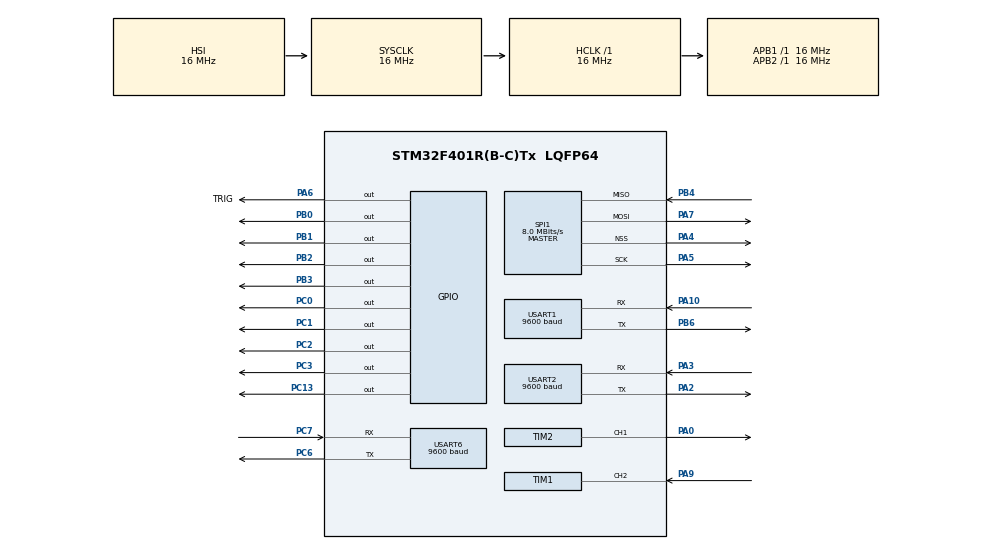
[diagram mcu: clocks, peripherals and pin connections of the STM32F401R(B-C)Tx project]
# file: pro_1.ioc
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Mcu.Family=STM32F4
Mcu.Name=STM32F401R(B-C)Tx
Mcu.Package=LQFP64
NVIC.PriorityGroup=NVIC_PRIORITYGROUP_4
NVIC.SPI1_IRQn=true\:0\:0\:false\:false\:true\:true\:true\:true
NVIC.TIM1_BRK_TIM9_IRQn=true\:0\:0\:false\:false\:true\:true\:true\:true
NVIC.TIM1_CC_IRQn=true\:0\:0\:false\:false\:true\:true\:true\:true
NVIC.TIM1_TRG_COM_TIM11_IRQn=true\:0\:0\:false\:false\:true\:true\:true\:true
NVIC.TIM1_UP_TIM10_IRQn=true\:0\:0\:false\:false\:true\:true\:true\:true
NVIC.USART1_IRQn=true\:0\:0\:false\:false\:true\:true\:true\:true
NVIC.USART2_IRQn=true\:0\:0\:false\:false\:true\:true\:true\:true
NVIC.USART6_IRQn=true\:0\:0\:false\:false\:true\:true\:true\:true
PA0-WKUP.Signal=S_TIM2_CH1_ETR
PA10.Mode=Asynchronous
PA10.Signal=USART1_RX
PA2.Mode=Asynchronous
PA2.Signal=USART2_TX
PA3.Mode=Asynchronous
PA3.Signal=USART2_RX
PA4.Mode=NSS_Signal_Hard_Output
PA4.Signal=SPI1_NSS
PA5.Mode=Full_Duplex_Master
PA5.Signal=SPI1_SCK
PA6.GPIO_Label=TRIG
PA6.Signal=GPIO_Output
PA7.Mode=Full_Duplex_Master
PA7.Signal=SPI1_MOSI
PA9.Signal=S_TIM1_CH2
PB0.Signal=GPIO_Output
PB1.Signal=GPIO_Output
PB2.Signal=GPIO_Output
PB3.Signal=GPIO_Output
PB4.Mode=Full_Duplex_Master
PB4.Signal=SPI1_MISO
PB6.Mode=Asynchronous
PB6.Signal=USART1_TX
PC0.Signal=GPIO_Output
PC1.Signal=GPIO_Output
PC13-ANTI_TAMP.Signal=GPIO_Output
PC2.Signal=GPIO_Output
PC3.Signal=GPIO_Output
PC6.Mode=Asynchronous
PC6.Signal=USART6_TX
PC7.Mode=Asynchronous
PC7.Signal=USART6_RX
ProjectManager.HeapSize=0x200
ProjectManager.StackSize=0x400
ProjectManager.TargetToolchain=STM32CubeIDE
RCC.48MHZClocksFreq_Value=20480000
RCC.AHBFreq_Value=16000000
RCC.APB1Freq_Value=16000000
RCC.APB1TimFreq_Value=16000000
RCC.APB2Freq_Value=16000000
RCC.APB2TimFreq_Value=16000000
RCC.CortexFreq_Value=16000000
RCC.HCLKFreq_Value=16000000
RCC.HSE_VALUE=25000000
RCC.HSI_VALUE=16000000
RCC.LSE_VALUE=32768
RCC.PLLM=25
RCC.PLLN=128
RCC.SYSCLKFreq_VALUE=16000000
RCC.VCOOutputFreq_Value=81920000
SH.S_TIM1_CH2.0=TIM1_CH2,Input_Capture2_from_TI2
SH.S_TIM2_CH1_ETR.0=TIM2_CH1,PWM Generation1 CH1
SPI1.CalculateBaudRate=8.0 MBits/s
SPI1.Direction=SPI_DIRECTION_2LINES
SPI1.Mode=SPI_MODE_MASTER
SPI1.VirtualNSS=VM_NSSHARD
SPI1.VirtualType=VM_MASTER
TIM1.Channel-Input_Capture2_from_TI2=TIM_CHANNEL_2
TIM1.Period=0xffff-1
TIM1.Prescaler=16-1
TIM2.Channel-PWM\ Generation1\ CH1=TIM_CHANNEL_1
TIM2.Period=2000-1
TIM2.Prescaler=160-1
USART1.BaudRate=9600
USART1.VirtualMode=VM_ASYNC
USART2.BaudRate=9600
USART2.VirtualMode=VM_ASYNC
USART6.BaudRate=9600
USART6.VirtualMode=VM_ASYNC
VP_TIM1_VS_ClockSourceINT.Mode=Internal
VP_TIM2_VS_ClockSourceINT.Mode=Internal
board=custom

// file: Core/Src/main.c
/* USER CODE BEGIN Header */
/**
  ******************************************************************************
  * @file           : main.c
  * @brief          : Main program body
  ******************************************************************************
  * @attention
  *
  * Copyright (c) 2024 STMicroelectronics.
  * All rights reserved.
  *
  * This software is licensed under terms that can be found in the LICENSE file
  * in the root directory of this software component.
  * If no LICENSE file comes with this software, it is provided AS-IS.
  *
  ******************************************************************************
  */
/* USER CODE END Header */
#include "main.h"
#include "spi.h"
#include "tim.h"
#include "usart.h"
#include "gpio.h"

/* USER CODE BEGIN Includes */
#include "stdio.h"
#include "string.h"
#include "stander_file.h"
#include "keypad_cfg.h"
#include "lcd_cfg.h"
#include "led_cfg.h"
#include "bluetooth_cfg.h"
#include "servo_cfg.h"
#include "ultrasonic_cfg.h"
/* USER CODE END Includes */

/* USER CODE BEGIN PTD */

#define TRIG_PIN GPIO_PIN_10
#define TRIG_PORT GPIOA

/* USER CODE END PTD */

/* USER CODE BEGIN PV */
HAL_StatusTypeDef ret;                // return status
uint32_t IC_Val1 ;                    // for ultasonic read
uint32_t IC_Val2 ;                    // for ultasonic read
uint32_t Difference ;                 // different between val1 and val2
uint8_t Is_First_Captured ;           // is the first value captured ?
uint8_t Distance ;                    // distance from ultrasonic
uint8_t data_receive_uart2[2];        // receive data from pic
uint8_t data_receive_uart2_buffer[2]; // receive data from pic
volatile uint8_t data_receive_uart1;  // receive data from pic
uint8_t counter_recieve = 1;          //helper at data receive

/* USER CODE END PV */

void SystemClock_Config(void);

/* USER CODE BEGIN 0 */

/* callback for ultrasonic */
void HAL_TIM_IC_CaptureCallback(TIM_HandleTypeDef *htim)
{
   if (htim->Channel == HAL_TIM_ACTIVE_CHANNEL_2)  // if the interrupt source is channel1
   {
       if (Is_First_Captured == 0) // if the first value is not captured
       {
           IC_Val1 = HAL_TIM_ReadCapturedValue(htim, TIM_CHANNEL_2); // read the first value
           Is_First_Captured = 1;  // set the first captured as true
           // Now change the polarity to falling edge
           __HAL_TIM_SET_CAPTUREPOLARITY(htim, TIM_CHANNEL_2, TIM_INPUTCHANNELPOLARITY_FALLING);
       }

       else if (Is_First_Captured==1)   // if the first is already captured
       {
           IC_Val2 = HAL_TIM_ReadCapturedValue(htim, TIM_CHANNEL_2);  // read second value
           __HAL_TIM_SET_COUNTER(htim, 0);  // reset the counter

           if (IC_Val2 > IC_Val1)
           {
               Difference = IC_Val2-IC_Val1;
           }

           else if (IC_Val1 > IC_Val2)
           {
               Difference = (0xffff - IC_Val1) + IC_Val2;
           }

           Distance = Difference * (0.034/2);
           Is_First_Captured = 0; // set it back to false

           // set polarity to rising edge
           __HAL_TIM_SET_CAPTUREPOLARITY(htim, TIM_CHANNEL_2, TIM_INPUTCHANNELPOLARITY_RISING);
           __HAL_TIM_DISABLE_IT(&htim1, TIM_IT_CC2);
       }
   }
}

/* UART receive interrupt */
void HAL_UART_RxCpltCallback(UART_HandleTypeDef *huart){
	if(huart == &huart1){
		HAL_UART_Receive_IT(&huart1,&data_receive_uart1,1);
	}else if(huart == &huart2){
		HAL_UART_Receive_IT(&huart2,&data_receive_uart2[counter_recieve],1);
		counter_recieve++;
		if(counter_recieve == 2){
			counter_recieve = 0;
		}
	}

}

/* USER CODE END 0 */

int main(void)
{

  /* USER CODE BEGIN 1 */
	char MSG[40];
  /* USER CODE END 1 */

  /* MCU Configuration--------------------------------------------------------*/

  /* Reset of all peripherals, Initializes the Flash interface and the Systick. */
  HAL_Init();

  /* Configure the system clock */
  SystemClock_Config();

  /* Initialize all configured peripherals */
  MX_GPIO_Init();
  MX_TIM1_Init();
  MX_USART2_UART_Init();
  MX_USART1_UART_Init();
  MX_USART6_UART_Init();
  MX_TIM2_Init();
  MX_SPI1_Init();
  /* USER CODE BEGIN 2 */

  HAL_TIM_IC_Start_IT(&htim1, TIM_CHANNEL_2);                  //start timer for ultasonic
  HAL_UART_Receive_IT(&huart1,&data_receive_uart1,1);          //receive data Bluetooth
  HAL_UART_Receive_IT(&huart2,&data_receive_uart2[0],1);       //receive data from pic

  /* USER CODE END 2 */

  /* Infinite loop */
  /* USER CODE BEGIN WHILE */
  while (1)
  {
	  /* send data with SPI */
	  HAL_SPI_Transmit(&hspi1,&data_receive_uart2[1],1,HAL_MAX_DELAY);
	  /* read ultrasonic data*/
	  HCSR04_Read(&ultra_1);
	  if(Distance >= 35){
		  servo_Motor_Start_angle_90(&servo);
	  }else if((Distance >= 31) && Distance < 35){
		  servo_Motor_Start_angle_45(&servo);
	  }else if((Distance >= 28) && Distance < 31){
		  servo_Motor_Start_angle_0(&servo);
	  }else if((Distance >= 24) && Distance < 28){
		  servo_Motor_Start_angle_N45(&servo);
	  }else if((Distance >= 20) && Distance < 24){
		  servo_Motor_Start_angle_N90(&servo);
	  }else{
		  servo_Motor_Start_angle_90(&servo);
	  }

	  /* for debug */
	  sprintf(MSG, "data1 = %d \r\n",data_receive_uart2[0]);
	  HAL_UART_Transmit(&huart6, MSG,strlen(MSG), 1000);
	  sprintf(MSG, "data2 = %d \r\n",data_receive_uart2[1]);
	  HAL_UART_Transmit(&huart6, MSG,strlen(MSG), 1000);

	  /* sun value */
	  if(data_receive_uart2[0] > 38 ){
		  HAL_GPIO_WritePin(GPIOC, GPIO_PIN_0, GPIO_PIN_RESET);
		  HAL_GPIO_WritePin(GPIOC, GPIO_PIN_1, GPIO_PIN_RESET);
		  HAL_GPIO_WritePin(GPIOC, GPIO_PIN_2, GPIO_PIN_RESET);
		  HAL_GPIO_WritePin(GPIOC, GPIO_PIN_3, GPIO_PIN_RESET);
		  HAL_GPIO_WritePin(GPIOB, GPIO_PIN_0, GPIO_PIN_RESET);
		  HAL_GPIO_WritePin(GPIOB, GPIO_PIN_1, GPIO_PIN_RESET);
		  HAL_GPIO_WritePin(GPIOB, GPIO_PIN_2, GPIO_PIN_RESET);
		  HAL_GPIO_WritePin(GPIOB, GPIO_PIN_3, GPIO_PIN_RESET);
		  HAL_GPIO_WritePin(GPIOC, GPIO_PIN_13,GPIO_PIN_RESET);
	      }else{
	    	  /* bluetooth receive data and operation */
	    	  switch(data_receive_uart1){
	    	  	  	  case 'a':
	    	  	  		  HAL_GPIO_WritePin(GPIOC, GPIO_PIN_0, GPIO_PIN_SET);
	    	  	  		  HAL_GPIO_WritePin(GPIOC, GPIO_PIN_1, GPIO_PIN_RESET);
	    	  	  		  HAL_GPIO_WritePin(GPIOC, GPIO_PIN_2, GPIO_PIN_RESET);
	    	  	  		  HAL_GPIO_WritePin(GPIOC, GPIO_PIN_3, GPIO_PIN_RESET);
	    	  	  		  break;
	    	  	  	  case 's':
	    	  	  	  		  HAL_GPIO_WritePin(GPIOC, GPIO_PIN_0, GPIO_PIN_RESET);
	    	  	  	  		  HAL_GPIO_WritePin(GPIOC, GPIO_PIN_1, GPIO_PIN_SET);
	    	  	  	  		  HAL_GPIO_WritePin(GPIOC, GPIO_PIN_2, GPIO_PIN_RESET);
	    	  	  	  		  HAL_GPIO_WritePin(GPIOC, GPIO_PIN_3, GPIO_PIN_RESET);
	    	  	  	  		  break;
	    	  	  	  case 'd':
	    	  	  	  		  HAL_GPIO_WritePin(GPIOC, GPIO_PIN_0, GPIO_PIN_RESET);
	    	  	  	  		  HAL_GPIO_WritePin(GPIOC, GPIO_PIN_1, GPIO_PIN_RESET);
	    	  	  	  		  HAL_GPIO_WritePin(GPIOC, GPIO_PIN_2, GPIO_PIN_SET);
	    	  	  	  		  HAL_GPIO_WritePin(GPIOC, GPIO_PIN_3, GPIO_PIN_RESET);
	    	  	  	  		  break;
	    	  	  	  case 'f':
	    	  	  	  		  HAL_GPIO_WritePin(GPIOC, GPIO_PIN_0, GPIO_PIN_RESET);
	    	  	  	  		  HAL_GPIO_WritePin(GPIOC, GPIO_PIN_1, GPIO_PIN_RESET);
	    	  	  	  		  HAL_GPIO_WritePin(GPIOC, GPIO_PIN_2, GPIO_PIN_RESET);
	    	  	  	  		  HAL_GPIO_WritePin(GPIOC, GPIO_PIN_3, GPIO_PIN_SET);
	    	  	  	  		  break;
	    	  	  	  case 'g':
	    	  	  	  		  HAL_GPIO_WritePin(GPIOC, GPIO_PIN_0, GPIO_PIN_SET);
	    	  	  	  		  HAL_GPIO_WritePin(GPIOC, GPIO_PIN_1, GPIO_PIN_SET);
	    	  	  	  		  HAL_GPIO_WritePin(GPIOC, GPIO_PIN_2, GPIO_PIN_SET);
	    	  	  	  		  HAL_GPIO_WritePin(GPIOC, GPIO_PIN_3, GPIO_PIN_SET);
	    	  	  	  		  break;
	    	  	  	  case 'h':
	    	  	  	  	  		  HAL_GPIO_WritePin(GPIOC, GPIO_PIN_0, GPIO_PIN_RESET);
	    	  	  	  	  		  HAL_GPIO_WritePin(GPIOC, GPIO_PIN_1, GPIO_PIN_RESET);
	    	  	  	  	  		  HAL_GPIO_WritePin(GPIOC, GPIO_PIN_2, GPIO_PIN_RESET);
	    	  	  	  	  		  HAL_GPIO_WritePin(GPIOC, GPIO_PIN_3, GPIO_PIN_RESET);
	    	  	  	  	  		  break;
	    	  	  	  default :
	    	  	  		  break;
	    	  	  	  }
	    	  /* ultrasonic distance */
	    	  if(Distance >= 35){
	    	  		  HAL_GPIO_WritePin(GPIOB, GPIO_PIN_0, GPIO_PIN_RESET);
	    	  		  HAL_GPIO_WritePin(GPIOB, GPIO_PIN_1, GPIO_PIN_RESET);
	    	  		  HAL_GPIO_WritePin(GPIOB, GPIO_PIN_2, GPIO_PIN_RESET);
	    	  		  HAL_GPIO_WritePin(GPIOB, GPIO_PIN_3, GPIO_PIN_RESET);
	    	  		  HAL_GPIO_WritePin(GPIOC, GPIO_PIN_13, GPIO_PIN_RESET);
	    	  	  }else if((Distance >= 31) && Distance < 35){
	    	  		  HAL_GPIO_WritePin(GPIOB, GPIO_PIN_0, GPIO_PIN_SET);
	    	  		  HAL_GPIO_WritePin(GPIOB, GPIO_PIN_1, GPIO_PIN_RESET);
	    	  		  HAL_GPIO_WritePin(GPIOB, GPIO_PIN_2, GPIO_PIN_RESET);
	    	  		  HAL_GPIO_WritePin(GPIOB, GPIO_PIN_3, GPIO_PIN_RESET);
	    	  		  HAL_GPIO_WritePin(GPIOC, GPIO_PIN_13, GPIO_PIN_RESET);
	    	  	  }else if((Distance >= 28) && Distance < 31){
	    	  		  HAL_GPIO_WritePin(GPIOB, GPIO_PIN_0, GPIO_PIN_SET);
	    	  		  HAL_GPIO_WritePin(GPIOB, GPIO_PIN_1, GPIO_PIN_SET);
	    	  		  HAL_GPIO_WritePin(GPIOB, GPIO_PIN_2, GPIO_PIN_RESET);
	    	  		  HAL_GPIO_WritePin(GPIOB, GPIO_PIN_3, GPIO_PIN_RESET);
	    	  		  HAL_GPIO_WritePin(GPIOC, GPIO_PIN_13, GPIO_PIN_RESET);
	    	  	  }else if((Distance >= 24) && Distance < 28){
	    	  		  HAL_GPIO_WritePin(GPIOB, GPIO_PIN_0, GPIO_PIN_SET);
	    	  		  HAL_GPIO_WritePin(GPIOB, GPIO_PIN_1, GPIO_PIN_SET);
	    	  		  HAL_GPIO_WritePin(GPIOB, GPIO_PIN_2, GPIO_PIN_SET);
	    	  		  HAL_GPIO_WritePin(GPIOB, GPIO_PIN_3, GPIO_PIN_RESET);
	    	  		  HAL_GPIO_WritePin(GPIOC, GPIO_PIN_13, GPIO_PIN_RESET);
	    	  	  }else if((Distance >= 20) && Distance < 24){
	    	  		  HAL_GPIO_WritePin(GPIOB, GPIO_PIN_0, GPIO_PIN_SET);
	    	  		  HAL_GPIO_WritePin(GPIOB, GPIO_PIN_1, GPIO_PIN_SET);
	    	  		  HAL_GPIO_WritePin(GPIOB, GPIO_PIN_2, GPIO_PIN_SET);
	    	  		  HAL_GPIO_WritePin(GPIOB, GPIO_PIN_3, GPIO_PIN_SET);
	    	  		  HAL_GPIO_WritePin(GPIOC, GPIO_PIN_13, GPIO_PIN_RESET);
	    	  	  }else{
	    	  		  HAL_GPIO_WritePin(GPIOB, GPIO_PIN_0, GPIO_PIN_SET);
	    	  		  HAL_GPIO_WritePin(GPIOB, GPIO_PIN_1, GPIO_PIN_SET);
	    	  		  HAL_GPIO_WritePin(GPIOB, GPIO_PIN_2, GPIO_PIN_SET);
	    	  		  HAL_GPIO_WritePin(GPIOB, GPIO_PIN_3, GPIO_PIN_SET);
	    	  		  HAL_GPIO_WritePin(GPIOC, GPIO_PIN_13, GPIO_PIN_SET);
	    	  	  }
	      }

	  while(data_receive_uart2[1] >= 40){
		  HAL_GPIO_TogglePin(GPIOC, GPIO_PIN_0);
		  HAL_GPIO_TogglePin(GPIOB, GPIO_PIN_1);
		  HAL_GPIO_TogglePin(GPIOC, GPIO_PIN_2);
		  HAL_GPIO_TogglePin(GPIOB, GPIO_PIN_3);
		  HAL_GPIO_TogglePin(GPIOB, GPIO_PIN_0);
		  HAL_GPIO_TogglePin(GPIOC, GPIO_PIN_1);
		  HAL_GPIO_TogglePin(GPIOB, GPIO_PIN_2);
		  HAL_GPIO_TogglePin(GPIOC, GPIO_PIN_3);
		  HAL_GPIO_TogglePin(GPIOC, GPIO_PIN_13);
		  HAL_Delay(60);
		  /* send data with SPI */
		  HAL_SPI_Transmit(&hspi1,&data_receive_uart2[1],1,HAL_MAX_DELAY);
	  }
    /* USER CODE END WHILE */

  }
}

void SystemClock_Config(void)
{
  RCC_OscInitTypeDef RCC_OscInitStruct = {0};
  RCC_ClkInitTypeDef RCC_ClkInitStruct = {0};

  /** Configure the main internal regulator output voltage
  */
  __HAL_RCC_PWR_CLK_ENABLE();
  __HAL_PWR_VOLTAGESCALING_CONFIG(PWR_REGULATOR_VOLTAGE_SCALE2);

  /** Initializes the RCC Oscillators according to the specified parameters
  * in the RCC_OscInitTypeDef structure.
  */
  RCC_OscInitStruct.OscillatorType = RCC_OSCILLATORTYPE_HSI;
  RCC_OscInitStruct.HSIState = RCC_HSI_ON;
  RCC_OscInitStruct.HSICalibrationValue = RCC_HSICALIBRATION_DEFAULT;
  RCC_OscInitStruct.PLL.PLLState = RCC_PLL_NONE;
  if (HAL_RCC_OscConfig(&RCC_OscInitStruct) != HAL_OK)
  {
    Error_Handler();
  }

  /** Initializes the CPU, AHB and APB buses clocks
  */
  RCC_ClkInitStruct.ClockType = RCC_CLOCKTYPE_HCLK|RCC_CLOCKTYPE_SYSCLK
                              |RCC_CLOCKTYPE_PCLK1|RCC_CLOCKTYPE_PCLK2;
  RCC_ClkInitStruct.SYSCLKSource = RCC_SYSCLKSOURCE_HSI;
  RCC_ClkInitStruct.AHBCLKDivider = RCC_SYSCLK_DIV1;
  RCC_ClkInitStruct.APB1CLKDivider = RCC_HCLK_DIV1;
  RCC_ClkInitStruct.APB2CLKDivider = RCC_HCLK_DIV1;

  if (HAL_RCC_ClockConfig(&RCC_ClkInitStruct, FLASH_LATENCY_0) != HAL_OK)
  {
    Error_Handler();
  }
}

void Error_Handler(void)
{
  __disable_irq();
  while (1)
  {
  }
}
